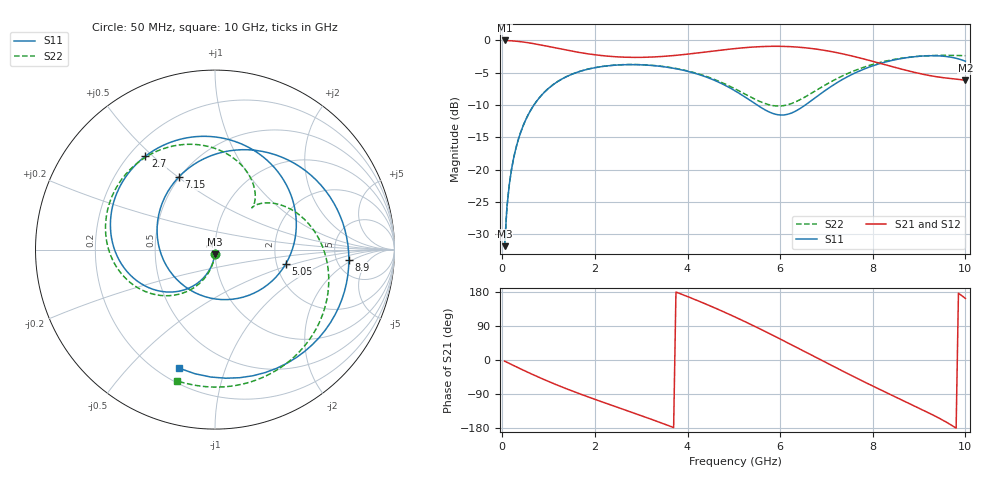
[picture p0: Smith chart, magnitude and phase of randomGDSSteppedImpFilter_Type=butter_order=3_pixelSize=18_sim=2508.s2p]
! freq	dB(S11)	phase(S11)	dB(S12)	phase(S12)
!  dB(S21)	phase(S21)	dB(S22)	phase(S22)
!S-par simulation data
#  GHz  S  DB  R 50
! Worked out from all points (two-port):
!   200 points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, 50 MHz to 10 GHz, reference 50 ohm
!   highest |S21| = -0.01 dB at 50 MHz (marker M1); lowest = -6.2 dB at 10 GHz (marker M2)
!   |S21| within 3 dB of the highest: start of sweep to 7.878 GHz
!   lowest |S11| = -31.9 dB at 50 MHz (marker M3), VSWR 1.05, Z = 49.8 - j2.54 ohm
!   |S11| at or under -10 dB: start of sweep to 684.6 MHz; 5.5 GHz to 6.544 GHz (1.044 GHz wide, 17.3 % of centre)
!   |S22| runs from -31.9 to -2.3 dB; largest |S21 - S12| = 0
!   S11 on the Smith chart (normalised r, x): 50 MHz: 1.00, -0.05; 2.7 GHz: 0.26, +0.47; 5.05 GHz: 2.25, -0.43; 7.15 GHz: 0.49, +0.50; 8.9 GHz: 6.51, -1.64; 10 GHz: 0.28, -0.70
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0.05  -31.87 -93.3  -0.01 -3.0  -0.01 -3.0  -31.86 -93.1
0.1  -25.87 -96.6  -0.02 -6.0  -0.02 -6.0  -25.87 -96.1
0.2  -19.94 -103.1  -0.06 -12.0  -0.06 -12.0  -19.94 -101.9
0.5  -12.39 -121.5  -0.30 -29.5  -0.30 -29.5  -12.39 -118.6
1.1  -6.84 -155.5  -1.09 -61.9  -1.09 -61.9  -6.83 -149.3
1.75  -4.64 171.5  -1.97 -92.8  -1.97 -92.8  -4.63 -178.2
2.7  -3.75 126.7  -2.61 -134.0  -2.61 -134.0  -3.74 144.5
3.4  -4.00 92.4  -2.51 -164.6  -2.51 -164.6  -3.97 118.0
4.25  -5.29 45.1  -1.92 155.0  -1.92 155.0  -5.21 85.8
5.05  -7.91 -11.4  -1.25 112.2  -1.25 112.2  -7.59 59.0
5.45  -9.76 -48.5  -1.01 88.9  -1.01 88.9  -9.09 50.7
5.85  -11.33 -95.5  -0.91 64.7  -0.91 64.7  -10.10 48.4
6.3  -11.07 -155.5  -1.00 36.7  -1.00 36.7  -9.62 47.9
6.7  -9.18 158.1  -1.27 11.5  -1.27 11.5  -8.07 41.3
7.15  -6.90 116.5  -1.79 -16.8  -1.79 -16.8  -6.21 26.0
7.75  -4.62 71.2  -2.77 -53.7  -2.77 -53.7  -4.29 -1.3
8.35  -3.21 31.2  -3.93 -89.3  -3.93 -89.3  -3.10 -31.0
8.9  -2.52 -4.3  -4.95 -121.2  -4.95 -121.2  -2.51 -57.9
9.2  -2.38 -24.9  -5.41 -138.9  -5.41 -138.9  -2.36 -72.0
9.5  -2.43 -48.6  -5.75 -158.0  -5.75 -158.0  -2.31 -85.5
9.8  -2.77 -79.0  -5.99 -179.8  -5.99 -179.8  -2.34 -98.2
10  -3.22 -107.0  -6.19 162.5  -6.19 162.5  -2.36 -106.1
